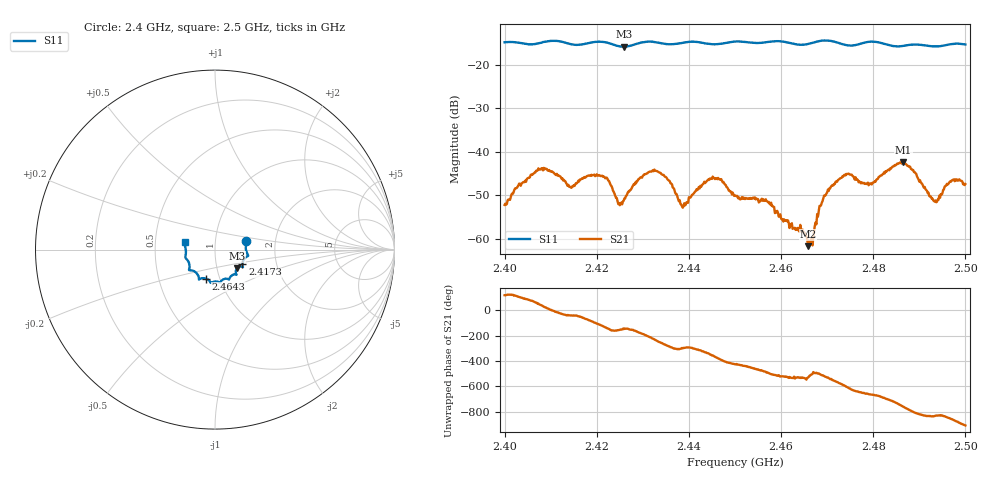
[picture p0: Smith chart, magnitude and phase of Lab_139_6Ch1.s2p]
# Hz S RI R 50
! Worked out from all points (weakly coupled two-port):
!   601 points, 2.4 GHz to 2.5 GHz, reference 50 ohm
!   highest |S21| = -42.40 dB at 2.4865 GHz (marker M1); lowest = -61.7 dB at 2.4658 GHz (marker M2)
!   lowest |S11| = -15.9 dB at 2.4258 GHz (marker M3), VSWR 1.38, Z = 62.5 - j13.3 ohm
!   |S11| at or under -10 dB: start of sweep to end of sweep
!   S12 and S22 are empty: the file has one direction only
!   S11 on the Smith chart (normalised r, x): 2.4 GHz: 1.41, +0.15; 2.4173 GHz: 1.34, -0.23; 2.4643 GHz: 0.86, -0.29; 2.5 GHz: 0.71, +0.06
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2.4e9  0.174 0.05  -0.0011 0.00218  0 0  0 0
2.407667e9  0.1775 -0.0161  0.00463 0.00429  0 0  0 0
2.416667e9  0.1538 -0.074  0.00271 -0.004  0 0  0 0
2.417333e9  0.1528 -0.0816  0.00214 -0.00465  0 0  0 0
2.421667e9  0.1547 -0.0957  -0.00342 -0.00382  0 0  0 0
2.425833e9  0.1232 -0.1034  -0.00235 -0.00137  0 0  0 0
2.433333e9  0.1145 -0.1375  -0.00229 0.00539  0 0  0 0
2.438667e9  0.0814 -0.1591  0.00114 0.00196  0 0  0 0
2.445e9  0.0565 -0.1626  0.00486 0.000287  0 0  0 0
2.45e9  0.029 -0.1823  0.00127 -0.00288  0 0  0 0
2.456833e9  -0.0128 -0.181  -0.00179 -0.00205  0 0  0 0
2.464333e9  -0.0501 -0.1618  -0.00122 -0.000215  0 0  0 0
2.465833e9  -0.0682 -0.159  -0.000807 -0.000147  0 0  0 0
2.466667e9  -0.0767 -0.1601  -0.00077 -0.000531  0 0  0 0
2.468833e9  -0.0888 -0.1667  -0.00229 -0.00122  0 0  0 0
2.472333e9  -0.0902 -0.1547  -0.00416 0.00225  0 0  0 0
2.4795e9  -0.1442 -0.1146  0.00238 0.00355  0 0  0 0
2.483333e9  -0.1419 -0.0904  0.00599 0.00169  0 0  0 0
2.4865e9  -0.1538 -0.0585  0.00594 -0.00472  0 0  0 0
2.493333e9  -0.1621 -0.00969  -0.00104 -0.00246  0 0  0 0
2.497e9  -0.1703 0.0286  -0.00343 -0.00317  0 0  0 0
2.5e9  -0.1651 0.0437  -0.00422 0.000501  0 0  0 0
